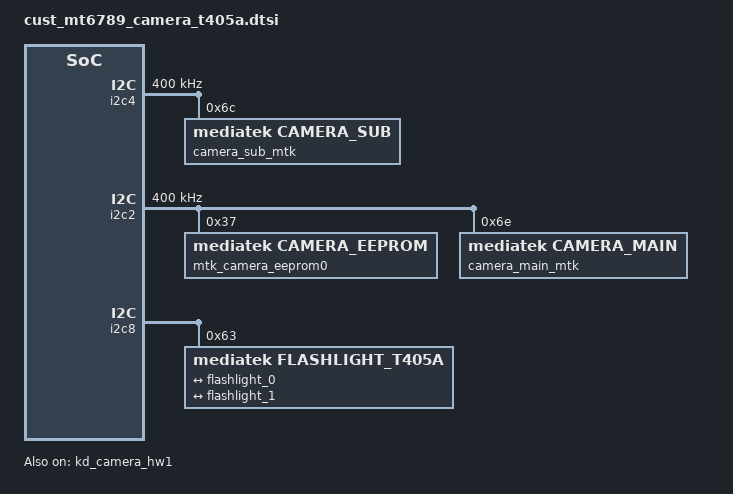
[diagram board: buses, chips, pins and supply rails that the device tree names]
// SPDX-License-Identifier: GPL-2.0
/* Copyright (c) 2020 MediaTek Inc. */
/* CAMERA GPIO standardization */
&pio {
	camera_pins_cam0_rst_0: cam0@0 {
		pins_cmd_dat {
			pinmux = <PINMUX_GPIO15__FUNC_GPIO15>;
			slew-rate = <1>;
			output-low;
		};
	};
	camera_pins_cam0_rst_1: cam0@1 {
		pins_cmd_dat {
			pinmux = <PINMUX_GPIO15__FUNC_GPIO15>;
			slew-rate = <1>;
			output-high;
		};
	};
	camera_pins_cam0_vcama_0: cam0@2 {
		pins_cmd_dat {
			pinmux = <PINMUX_GPIO19__FUNC_GPIO19>;
			slew-rate = <1>;
			output-low;
		};
	};
	camera_pins_cam0_vcama_1: cam0@3 {
		pins_cmd_dat {
			pinmux = <PINMUX_GPIO19__FUNC_GPIO19>;
			slew-rate = <1>;
			output-high;
		};
	};
	camera_pins_cam0_vcamd_0: cam0@4 {
		pins_cmd_dat {
			pinmux = <PINMUX_GPIO156__FUNC_GPIO156>;
			slew-rate = <1>;
			output-low;
		};
	};
	camera_pins_cam0_vcamd_1: cam0@5 {
		pins_cmd_dat {
			pinmux = <PINMUX_GPIO156__FUNC_GPIO156>;
			slew-rate = <1>;
			output-high;
		};
	};
	camera_pins_cam0_vcamio_0: cam0@6 {
		pins_cmd_dat {
			pinmux = <PINMUX_GPIO17__FUNC_GPIO17>;
			slew-rate = <1>;
			output-low;
		};
	};
	camera_pins_cam0_vcamio_1: cam0@7 {
		pins_cmd_dat {
			pinmux = <PINMUX_GPIO17__FUNC_GPIO17>;
			slew-rate = <1>;
			output-high;
		};
	};
	camera_pins_cam0_mclk_off: camera_pins_cam0_mclk_off {
		pins_cmd_dat {
			pinmux = <PINMUX_GPIO126__FUNC_GPIO126>;
			drive-strength = <1>;
		};
	};
	camera_pins_cam0_mclk_2ma: camera_pins_cam0_mclk_2ma {
		pins_cmd_dat {
			pinmux = <PINMUX_GPIO126__FUNC_CMMCLK0>;
			drive-strength = <0>;
		};
	};
	camera_pins_cam0_mclk_4ma: camera_pins_cam0_mclk_4ma {
		pins_cmd_dat {
			pinmux = <PINMUX_GPIO126__FUNC_CMMCLK0>;
			drive-strength = <1>;
		};
	};
	camera_pins_cam0_mclk_6ma: camera_pins_cam0_mclk_6ma {
		pins_cmd_dat {
			pinmux = <PINMUX_GPIO126__FUNC_CMMCLK0>;
			drive-strength = <2>;
		};
	};
	camera_pins_cam0_mclk_8ma: camera_pins_cam0_mclk_8ma {
		pins_cmd_dat {
			pinmux = <PINMUX_GPIO126__FUNC_CMMCLK0>;
			drive-strength = <3>;
		};
	};

	camera_pins_cam1_rst_0: cam1@0 {
		pins_cmd_dat {
			pinmux = <PINMUX_GPIO18__FUNC_GPIO18>;
			slew-rate = <1>;
			output-low;
		};
	};
	camera_pins_cam1_rst_1: cam1@1 {
		pins_cmd_dat {
			pinmux = <PINMUX_GPIO18__FUNC_GPIO18>;
			slew-rate = <1>;
			output-high;
		};
	};
	camera_pins_cam1_vcama_0: cam1@2 {
		pins_cmd_dat {
			pinmux = <PINMUX_GPIO19__FUNC_GPIO19>;
			slew-rate = <1>;
			output-low;
		};
	};
	camera_pins_cam1_vcama_1: cam1@3 {
		pins_cmd_dat {
			pinmux = <PINMUX_GPIO19__FUNC_GPIO19>;
			slew-rate = <1>;
			output-high;
		};
	};
	camera_pins_cam1_vcamio_0: cam1@4 {
		pins_cmd_dat {
			pinmux = <PINMUX_GPIO17__FUNC_GPIO17>;
			slew-rate = <1>;
			output-low;
		};
	};
	camera_pins_cam1_vcamio_1: cam1@5 {
		pins_cmd_dat {
			pinmux = <PINMUX_GPIO17__FUNC_GPIO17>;
			slew-rate = <1>;
			output-high;
		};
	};
	camera_pins_cam1_mclk_off: camera_pins_cam1_mclk_off {
		pins_cmd_dat {
			pinmux = <PINMUX_GPIO127__FUNC_GPIO127>;
			drive-strength = <1>;
		};
	};
	camera_pins_cam1_mclk_2ma: camera_pins_cam1_mclk_2ma {
		pins_cmd_dat {
			pinmux = <PINMUX_GPIO127__FUNC_CMMCLK1>;
			drive-strength = <0>;
		};
	};
	camera_pins_cam1_mclk_4ma: camera_pins_cam1_mclk_4ma {
		pins_cmd_dat {
			pinmux = <PINMUX_GPIO127__FUNC_CMMCLK1>;
			drive-strength = <1>;
		};
	};
	camera_pins_cam1_mclk_6ma: camera_pins_cam1_mclk_6ma {
		pins_cmd_dat {
			pinmux = <PINMUX_GPIO127__FUNC_CMMCLK1>;
			drive-strength = <2>;
		};
	};
	camera_pins_cam1_mclk_8ma: camera_pins_cam1_mclk_8ma {
		pins_cmd_dat {
			pinmux = <PINMUX_GPIO127__FUNC_CMMCLK1>;
			drive-strength = <3>;
		};
	};
	camera_pins_default: camdefault {
	};
};
&kd_camera_hw1 {
	pinctrl-names = "default",
			"cam0_rst0", "cam0_rst1",
			"cam0_mclk_off",
			"cam0_mclk_2mA", "cam0_mclk_4mA",
			"cam0_mclk_6mA", "cam0_mclk_8mA",
			"cam0_ldo_vcama_0",
			"cam0_ldo_vcama_1",
			"cam0_ldo_vcamd_0",
			"cam0_ldo_vcamd_1",
                        "cam0_ldo_vcamio_0",
			"cam0_ldo_vcamio_1",
			
			"cam1_rst0", "cam1_rst1",
			"cam1_mclk_off",
			"cam1_mclk_2mA", "cam1_mclk_4mA",
			"cam1_mclk_6mA", "cam1_mclk_8mA",
			"cam1_ldo_vcama_0",
			"cam1_ldo_vcama_1",
                        "cam1_ldo_vcamio_0",
			"cam1_ldo_vcamio_1";

	pinctrl-0 = <&camera_pins_default>;
	pinctrl-1 = <&camera_pins_cam0_rst_0>;
	pinctrl-2 = <&camera_pins_cam0_rst_1>;
	pinctrl-3 = <&camera_pins_cam0_mclk_off>;
	pinctrl-4 = <&camera_pins_cam0_mclk_2ma>;
	pinctrl-5 = <&camera_pins_cam0_mclk_4ma>;
	pinctrl-6 = <&camera_pins_cam0_mclk_6ma>;
	pinctrl-7 = <&camera_pins_cam0_mclk_8ma>;
	pinctrl-8 = <&camera_pins_cam0_vcama_0>;
	pinctrl-9 = <&camera_pins_cam0_vcama_1>;
	pinctrl-10 = <&camera_pins_cam0_vcamd_0>;
	pinctrl-11 = <&camera_pins_cam0_vcamd_1>;
	pinctrl-12 = <&camera_pins_cam0_vcamio_0>;
	pinctrl-13 = <&camera_pins_cam0_vcamio_1>;

	pinctrl-14 = <&camera_pins_cam1_rst_0>;
	pinctrl-15 = <&camera_pins_cam1_rst_1>;
	pinctrl-16 = <&camera_pins_cam1_mclk_off>;
	pinctrl-17 = <&camera_pins_cam1_mclk_2ma>;
	pinctrl-18 = <&camera_pins_cam1_mclk_4ma>;
	pinctrl-19 = <&camera_pins_cam1_mclk_6ma>;
	pinctrl-20 = <&camera_pins_cam1_mclk_8ma>;
	pinctrl-21 = <&camera_pins_cam1_vcama_0>;
	pinctrl-22 = <&camera_pins_cam1_vcama_1>;
	pinctrl-23 = <&camera_pins_cam1_vcamio_0>;
	pinctrl-24 = <&camera_pins_cam1_vcamio_1>;

	cam0_pin_mclk = "mclk";
	cam0_pin_rst = "gpio";
	cam0_pin_vcama = "gpio";
	cam0_pin_vcamio = "gpio";
	cam0_pin_vcamd = "gpio";
	cam0_enable_sensor = "gc05a2_sj_t405a_mipi_raw";
	
	/* front*/	
	cam1_pin_mclk = "mclk";
	cam1_pin_rst = "gpio";
	cam1_pin_vcama = "gpio";
	cam1_pin_vcamio = "gpio";		
        cam1_enable_sensor = "sc202cs_sj_t405a_mipi_raw";
	
	status = "okay";
};
/* CAMERA GPIO end */

&i2c4 {
	status = "okay";
	clock-frequency = <400000>;
	#address-cells = <1>;
	#size-cells = <0>;

//	mtk_camera_eeprom1:camera-eeprom1@51 {
//		compatible = "mediatek,camera_eeprom";
//		reg = <0x51>;
//		status = "okay";
//	};
	camera_sub_mtk:camera_sub@6c {
		compatible = "mediatek,camera_sub";
		#thermal-sensor-cells = <0>;
		reg = <0x6c>;
		status = "okay";
	};
};
&i2c2 {
	status = "okay";
	clock-frequency = <400000>;
	#address-cells = <1>;
	#size-cells = <0>;

	mtk_camera_eeprom0:camera-eeprom0@37 {
		compatible = "mediatek,camera_eeprom";
		reg = <0x37>;
		status = "okay";
	};
	camera_main_mtk:camera_main@6E {
		compatible = "mediatek,camera_main";
		#thermal-sensor-cells = <0>;
		reg = <0x6E>;
		status = "okay";
	};
};
/* CAMERA EEPROM end */

&i2c8 {
	flashlight_t405a:flashlight_t405a@63 {
		compatible = "mediatek,flashlight_t405a";
		reg = <0x63>;
		#cooling-cells = <2>;
		pinctrl-names = "default", "hwen-high", "hwen-low";
		pinctrl-0 = <&flashlight_t405a_pins_default>;
		pinctrl-1 = <&flashlight_t405a_pins_hwen_high>;
		pinctrl-2 = <&flashlight_t405a_pins_hwen_low>;
		status = "okay";
		flash@0{
			reg = <0>;
			type = <0>;
			ct = <0>;
			part = <0>;
			port@0 {
				fl_core_0: endpoint {
					remote-endpoint = <&flashlight_0>;
				};
			};
		};
		flash@1{
			reg = <1>;
			type = <0>;
			ct = <1>;
			part = <0>;
			port@1 {
				fl_core_1: endpoint {
					remote-endpoint = <&flashlight_1>;
				};
			};
		};
	};
};

&pio {
	flashlight_t405a_pins_default: default {
	};

	flashlight_t405a_pins_hwen_high: hwen-high {
		pins_cmd_dat {
			pinmux = <PINMUX_GPIO36__FUNC_GPIO36>;
			slew-rate = <1>;
			output-high;
		};
	};

	flashlight_t405a_pins_hwen_low: hwen-low {
		pins_cmd_dat {
			pinmux = <PINMUX_GPIO36__FUNC_GPIO36>;
			slew-rate = <1>;
			output-low;
		};
	};
};

&mtk_composite_v4l2_1 {
	port@0 {
		flashlight_0: endpoint {
			remote-endpoint = <&fl_core_0>;
		};
	};
	port@1 {
		flashlight_1: endpoint {
			remote-endpoint = <&fl_core_1>;
		};
	};
};

/* CAMERA TZ config */
&thermal_zones {
	camera_main: camera_main {
		polling-delay = <1000>; /* milliseconds */
		polling-delay-passive = <0>; /* milliseconds */
		thermal-sensors = <&camera_main_mtk>;
	};
	camera_sub: camera_sub {
		polling-delay = <1000>; /* milliseconds */
		polling-delay-passive = <0>; /* milliseconds */
		thermal-sensors = <&camera_sub_mtk>;
	};
};
/* CAMERA TZ config end */
